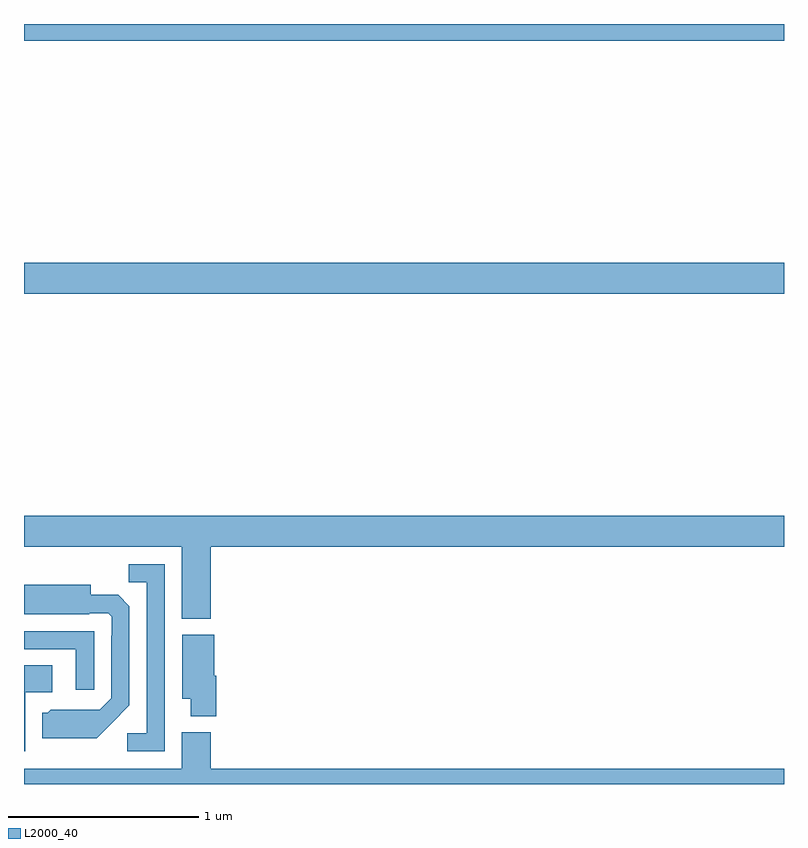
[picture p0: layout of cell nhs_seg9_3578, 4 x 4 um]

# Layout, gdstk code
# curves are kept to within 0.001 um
import gdstk
lib = gdstk.Library(unit=1e-6, precision=1e-09)
def R(c, l, rs):  # rectangles x0, y0, x1, y1
    for r in rs: c.add(gdstk.rectangle(r[:2], r[2:], *l))
def P(c, l, *ps):  # polygons
    for p in ps: c.add(gdstk.Polygon(p, *l))
L2000_40 = (2000, 40)

nhs_seg9_3578 = lib.new_cell('nhs_seg9_3578')
R(nhs_seg9_3578, L2000_40, [(315,1203.08,319,1203.244), (315,1204.412,319,1204.5)])
P(nhs_seg9_3578, L2000_40, [(315.983,1201.748),(319,1201.748),(319,1201.912),(315,1201.912),(315,1201.748),(315.83,1201.748),(315.83,1201.37),(315.983,1201.37)],
  [(315.741,1201.656),(315.55,1201.656),(315.55,1201.561),(315.645,1201.561),(315.645,1200.768),(315.543,1200.768),(315.543,1200.672),(315.741,1200.672)],
  [(315.463,1200.821),(315.555,1200.914),(315.555,1201.436),(315.496,1201.495),(315.352,1201.495),(315.352,1201.549),(315,1201.549),(315,1201.394),(315.344,1201.394),(315.344,1201.398),(315.444,1201.398),(315.462,1201.38),(315.462,1201.28),(315.459,1201.28),(315.459,1200.951),(315.399,1200.891),(315.142,1200.892),(315.126,1200.876),(315.095,1200.876),(315.095,1200.74),(315.383,1200.74)],
  [(315.369,1201.305),(315,1201.305),(315,1201.209),(315.273,1201.209),(315.273,1200.996),(315.369,1200.996)],
  [(316.013,1201.071),(316,1201.071),(316,1201.285),(315.833,1201.285),(315.833,1200.95),(315.878,1200.95),(315.878,1200.857),(316.013,1200.857)],
  [(315.006,1200.984),(315.148,1200.984),(315.148,1201.124),(315,1201.124),(315,1200.672),(315.006,1200.672)],
  [(319,1200.58),(315.983,1200.58),(315.983,1200.772),(315.83,1200.772),(315.83,1200.58),(315,1200.58),(315,1200.5),(319,1200.5)])

lib.write_gds('nhs_seg9_3578.gds')
